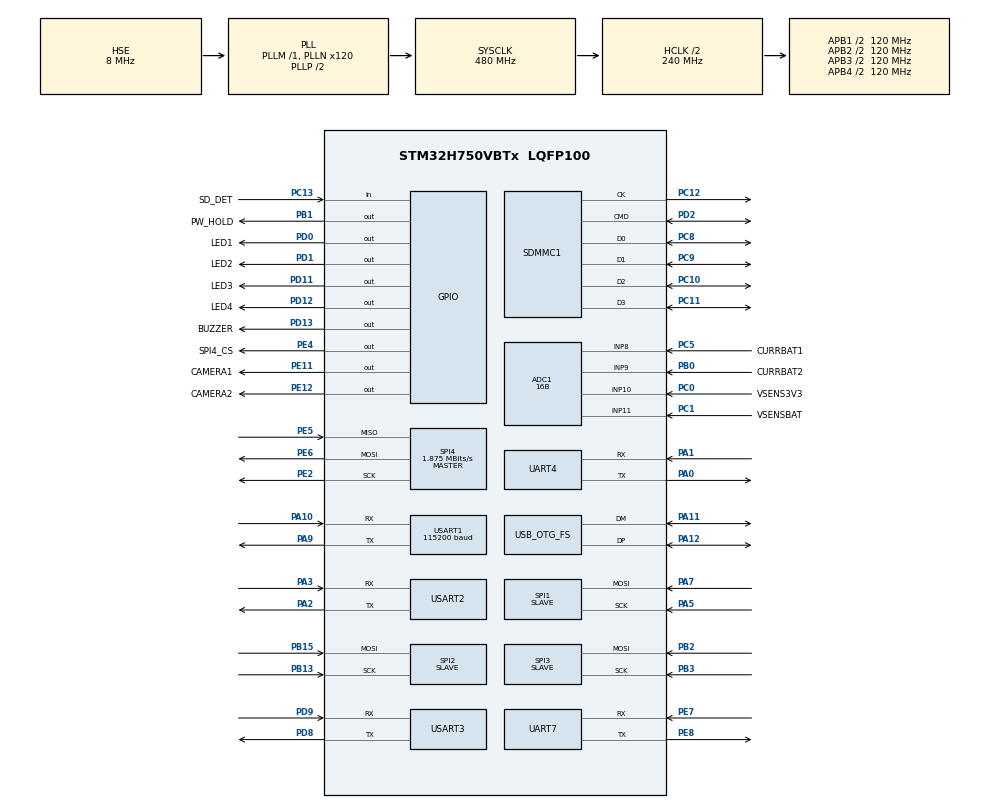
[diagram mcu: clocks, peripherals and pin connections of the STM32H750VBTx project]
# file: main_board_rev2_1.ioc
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ADC1.Channel-0\#ChannelRegularConversion=ADC_CHANNEL_8
ADC1.Channel-1\#ChannelRegularConversion=ADC_CHANNEL_9
ADC1.Channel-2\#ChannelRegularConversion=ADC_CHANNEL_10
ADC1.Channel-3\#ChannelRegularConversion=ADC_CHANNEL_11
ADC1.ClockPrescaler=ADC_CLOCK_ASYNC_DIV4
ADC1.ContinuousConvMode=ENABLE
ADC1.NbrOfConversion=4
ADC1.NbrOfConversionFlag=1
ADC1.OffsetNumber-0\#ChannelRegularConversion=ADC_OFFSET_NONE
ADC1.OffsetNumber-1\#ChannelRegularConversion=ADC_OFFSET_NONE
ADC1.OffsetNumber-2\#ChannelRegularConversion=ADC_OFFSET_NONE
ADC1.OffsetNumber-3\#ChannelRegularConversion=ADC_OFFSET_NONE
ADC1.OffsetSignedSaturation-0\#ChannelRegularConversion=DISABLE
ADC1.OffsetSignedSaturation-1\#ChannelRegularConversion=DISABLE
ADC1.OffsetSignedSaturation-2\#ChannelRegularConversion=DISABLE
ADC1.OffsetSignedSaturation-3\#ChannelRegularConversion=DISABLE
ADC1.Rank-0\#ChannelRegularConversion=1
ADC1.Rank-1\#ChannelRegularConversion=2
ADC1.Rank-2\#ChannelRegularConversion=3
ADC1.Rank-3\#ChannelRegularConversion=4
ADC1.Resolution=ADC_RESOLUTION_16B
ADC1.SamplingTime-0\#ChannelRegularConversion=ADC_SAMPLETIME_387CYCLES_5
ADC1.SamplingTime-1\#ChannelRegularConversion=ADC_SAMPLETIME_387CYCLES_5
ADC1.SamplingTime-2\#ChannelRegularConversion=ADC_SAMPLETIME_387CYCLES_5
ADC1.SamplingTime-3\#ChannelRegularConversion=ADC_SAMPLETIME_387CYCLES_5
ADC1.master=1
CORTEX_M7.CPU_DCache=Disabled
CORTEX_M7.CPU_ICache=Disabled
Dma.ADC1.0.Direction=DMA_PERIPH_TO_MEMORY
Dma.ADC1.0.EventEnable=DISABLE
Dma.ADC1.0.FIFOMode=DMA_FIFOMODE_DISABLE
Dma.ADC1.0.Instance=DMA2_Stream4
Dma.ADC1.0.MemDataAlignment=DMA_MDATAALIGN_WORD
Dma.ADC1.0.MemInc=DMA_MINC_ENABLE
Dma.ADC1.0.Mode=DMA_CIRCULAR
Dma.ADC1.0.PeriphDataAlignment=DMA_PDATAALIGN_WORD
Dma.ADC1.0.PeriphInc=DMA_PINC_DISABLE
Dma.ADC1.0.Polarity=HAL_DMAMUX_REQ_GEN_RISING
Dma.ADC1.0.Priority=DMA_PRIORITY_LOW
Dma.ADC1.0.RequestNumber=1
Dma.ADC1.0.SignalID=NONE
Dma.ADC1.0.SyncEnable=DISABLE
Dma.ADC1.0.SyncPolarity=HAL_DMAMUX_SYNC_NO_EVENT
Dma.ADC1.0.SyncRequestNumber=1
Dma.ADC1.0.SyncSignalID=NONE
Dma.Request0=ADC1
Dma.Request1=SPI1_RX
Dma.Request2=SPI2_RX
Dma.Request3=SPI3_RX
Dma.Request4=UART4_RX
Dma.Request5=UART7_RX
Dma.Request6=USART1_RX
Dma.Request7=USART2_RX
Dma.Request8=USART3_RX
Dma.SPI1_RX.1.Direction=DMA_PERIPH_TO_MEMORY
Dma.SPI1_RX.1.EventEnable=DISABLE
Dma.SPI1_RX.1.FIFOMode=DMA_FIFOMODE_DISABLE
Dma.SPI1_RX.1.Instance=DMA1_Stream0
Dma.SPI1_RX.1.MemDataAlignment=DMA_MDATAALIGN_BYTE
Dma.SPI1_RX.1.MemInc=DMA_MINC_ENABLE
Dma.SPI1_RX.1.Mode=DMA_CIRCULAR
Dma.SPI1_RX.1.PeriphDataAlignment=DMA_PDATAALIGN_BYTE
Dma.SPI1_RX.1.PeriphInc=DMA_PINC_DISABLE
Dma.SPI1_RX.1.Polarity=HAL_DMAMUX_REQ_GEN_RISING
Dma.SPI1_RX.1.Priority=DMA_PRIORITY_LOW
Dma.SPI1_RX.1.RequestNumber=1
Dma.SPI1_RX.1.SignalID=NONE
Dma.SPI1_RX.1.SyncEnable=DISABLE
Dma.SPI1_RX.1.SyncPolarity=HAL_DMAMUX_SYNC_NO_EVENT
Dma.SPI1_RX.1.SyncRequestNumber=1
Dma.SPI1_RX.1.SyncSignalID=NONE
Dma.SPI2_RX.2.Direction=DMA_PERIPH_TO_MEMORY
Dma.SPI2_RX.2.EventEnable=DISABLE
Dma.SPI2_RX.2.FIFOMode=DMA_FIFOMODE_DISABLE
Dma.SPI2_RX.2.Instance=DMA1_Stream1
Dma.SPI2_RX.2.MemDataAlignment=DMA_MDATAALIGN_BYTE
Dma.SPI2_RX.2.MemInc=DMA_MINC_ENABLE
Dma.SPI2_RX.2.Mode=DMA_CIRCULAR
Dma.SPI2_RX.2.PeriphDataAlignment=DMA_PDATAALIGN_BYTE
Dma.SPI2_RX.2.PeriphInc=DMA_PINC_DISABLE
Dma.SPI2_RX.2.Polarity=HAL_DMAMUX_REQ_GEN_RISING
Dma.SPI2_RX.2.Priority=DMA_PRIORITY_LOW
Dma.SPI2_RX.2.RequestNumber=1
Dma.SPI2_RX.2.SignalID=NONE
Dma.SPI2_RX.2.SyncEnable=DISABLE
Dma.SPI2_RX.2.SyncPolarity=HAL_DMAMUX_SYNC_NO_EVENT
Dma.SPI2_RX.2.SyncRequestNumber=1
Dma.SPI2_RX.2.SyncSignalID=NONE
Dma.SPI3_RX.3.Direction=DMA_PERIPH_TO_MEMORY
Dma.SPI3_RX.3.EventEnable=DISABLE
Dma.SPI3_RX.3.FIFOMode=DMA_FIFOMODE_DISABLE
Dma.SPI3_RX.3.Instance=DMA1_Stream2
Dma.SPI3_RX.3.MemDataAlignment=DMA_MDATAALIGN_BYTE
Dma.SPI3_RX.3.MemInc=DMA_MINC_ENABLE
Dma.SPI3_RX.3.Mode=DMA_CIRCULAR
Dma.SPI3_RX.3.PeriphDataAlignment=DMA_PDATAALIGN_BYTE
Dma.SPI3_RX.3.PeriphInc=DMA_PINC_DISABLE
Dma.SPI3_RX.3.Polarity=HAL_DMAMUX_REQ_GEN_RISING
Dma.SPI3_RX.3.Priority=DMA_PRIORITY_LOW
Dma.SPI3_RX.3.RequestNumber=1
Dma.SPI3_RX.3.SignalID=NONE
Dma.SPI3_RX.3.SyncEnable=DISABLE
Dma.SPI3_RX.3.SyncPolarity=HAL_DMAMUX_SYNC_NO_EVENT
Dma.SPI3_RX.3.SyncRequestNumber=1
Dma.SPI3_RX.3.SyncSignalID=NONE
Dma.UART4_RX.4.Direction=DMA_PERIPH_TO_MEMORY
Dma.UART4_RX.4.EventEnable=DISABLE
Dma.UART4_RX.4.FIFOMode=DMA_FIFOMODE_DISABLE
Dma.UART4_RX.4.Instance=DMA1_Stream3
Dma.UART4_RX.4.MemDataAlignment=DMA_MDATAALIGN_BYTE
Dma.UART4_RX.4.MemInc=DMA_MINC_ENABLE
Dma.UART4_RX.4.Mode=DMA_NORMAL
Dma.UART4_RX.4.PeriphDataAlignment=DMA_PDATAALIGN_BYTE
Dma.UART4_RX.4.PeriphInc=DMA_PINC_DISABLE
Dma.UART4_RX.4.Polarity=HAL_DMAMUX_REQ_GEN_RISING
Dma.UART4_RX.4.Priority=DMA_PRIORITY_LOW
Dma.UART4_RX.4.RequestNumber=1
Dma.UART4_RX.4.SignalID=NONE
Dma.UART4_RX.4.SyncEnable=DISABLE
Dma.UART4_RX.4.SyncPolarity=HAL_DMAMUX_SYNC_NO_EVENT
Dma.UART4_RX.4.SyncRequestNumber=1
Dma.UART4_RX.4.SyncSignalID=NONE
Dma.UART7_RX.5.Direction=DMA_PERIPH_TO_MEMORY
Dma.UART7_RX.5.EventEnable=DISABLE
Dma.UART7_RX.5.FIFOMode=DMA_FIFOMODE_DISABLE
Dma.UART7_RX.5.Instance=DMA1_Stream4
Dma.UART7_RX.5.MemDataAlignment=DMA_MDATAALIGN_BYTE
Dma.UART7_RX.5.MemInc=DMA_MINC_ENABLE
Dma.UART7_RX.5.Mode=DMA_NORMAL
Dma.UART7_RX.5.PeriphDataAlignment=DMA_PDATAALIGN_BYTE
Dma.UART7_RX.5.PeriphInc=DMA_PINC_DISABLE
Dma.UART7_RX.5.Polarity=HAL_DMAMUX_REQ_GEN_RISING
Dma.UART7_RX.5.Priority=DMA_PRIORITY_LOW
Dma.UART7_RX.5.RequestNumber=1
Dma.UART7_RX.5.SignalID=NONE
Dma.UART7_RX.5.SyncEnable=DISABLE
Dma.UART7_RX.5.SyncPolarity=HAL_DMAMUX_SYNC_NO_EVENT
Dma.UART7_RX.5.SyncRequestNumber=1
Dma.UART7_RX.5.SyncSignalID=NONE
Dma.USART1_RX.6.Direction=DMA_PERIPH_TO_MEMORY
Dma.USART1_RX.6.EventEnable=DISABLE
Dma.USART1_RX.6.FIFOMode=DMA_FIFOMODE_DISABLE
Dma.USART1_RX.6.Instance=DMA1_Stream5
Dma.USART1_RX.6.MemDataAlignment=DMA_MDATAALIGN_BYTE
Dma.USART1_RX.6.MemInc=DMA_MINC_ENABLE
Dma.USART1_RX.6.Mode=DMA_NORMAL
Dma.USART1_RX.6.PeriphDataAlignment=DMA_PDATAALIGN_BYTE
Dma.USART1_RX.6.PeriphInc=DMA_PINC_DISABLE
Dma.USART1_RX.6.Polarity=HAL_DMAMUX_REQ_GEN_RISING
Dma.USART1_RX.6.Priority=DMA_PRIORITY_LOW
Dma.USART1_RX.6.RequestNumber=1
Dma.USART1_RX.6.SignalID=NONE
Dma.USART1_RX.6.SyncEnable=DISABLE
Dma.USART1_RX.6.SyncPolarity=HAL_DMAMUX_SYNC_NO_EVENT
Dma.USART1_RX.6.SyncRequestNumber=1
Dma.USART1_RX.6.SyncSignalID=NONE
Dma.USART2_RX.7.Direction=DMA_PERIPH_TO_MEMORY
Dma.USART2_RX.7.EventEnable=DISABLE
Dma.USART2_RX.7.FIFOMode=DMA_FIFOMODE_DISABLE
Dma.USART2_RX.7.Instance=DMA1_Stream6
Dma.USART2_RX.7.MemDataAlignment=DMA_MDATAALIGN_BYTE
Dma.USART2_RX.7.MemInc=DMA_MINC_ENABLE
Dma.USART2_RX.7.Mode=DMA_NORMAL
Dma.USART2_RX.7.PeriphDataAlignment=DMA_PDATAALIGN_BYTE
Dma.USART2_RX.7.PeriphInc=DMA_PINC_DISABLE
Dma.USART2_RX.7.Polarity=HAL_DMAMUX_REQ_GEN_RISING
Dma.USART2_RX.7.Priority=DMA_PRIORITY_LOW
Dma.USART2_RX.7.RequestNumber=1
Dma.USART2_RX.7.SignalID=NONE
Dma.USART2_RX.7.SyncEnable=DISABLE
Dma.USART2_RX.7.SyncPolarity=HAL_DMAMUX_SYNC_NO_EVENT
Dma.USART2_RX.7.SyncRequestNumber=1
Dma.USART2_RX.7.SyncSignalID=NONE
Dma.USART3_RX.8.Direction=DMA_PERIPH_TO_MEMORY
Dma.USART3_RX.8.EventEnable=DISABLE
Dma.USART3_RX.8.FIFOMode=DMA_FIFOMODE_DISABLE
Dma.USART3_RX.8.Instance=DMA1_Stream7
Dma.USART3_RX.8.MemDataAlignment=DMA_MDATAALIGN_BYTE
Dma.USART3_RX.8.MemInc=DMA_MINC_ENABLE
Dma.USART3_RX.8.Mode=DMA_NORMAL
Dma.USART3_RX.8.PeriphDataAlignment=DMA_PDATAALIGN_BYTE
Dma.USART3_RX.8.PeriphInc=DMA_PINC_DISABLE
Dma.USART3_RX.8.Polarity=HAL_DMAMUX_REQ_GEN_RISING
Dma.USART3_RX.8.Priority=DMA_PRIORITY_LOW
Dma.USART3_RX.8.RequestNumber=1
Dma.USART3_RX.8.SignalID=NONE
Dma.USART3_RX.8.SyncEnable=DISABLE
Dma.USART3_RX.8.SyncPolarity=HAL_DMAMUX_SYNC_NO_EVENT
Dma.USART3_RX.8.SyncRequestNumber=1
Dma.USART3_RX.8.SyncSignalID=NONE
FATFS.BSP.number=1
FATFS._USE_FIND=1
FATFS0.BSP.STBoard=false
FATFS0.BSP.api=Unknown
FATFS0.BSP.i2caddr=0
FATFS0.BSP.instance=PC13
FATFS0.BSP.ip=GPIO
FATFS0.BSP.mode=Input
FATFS0.BSP.name=Detect_SDIO
FATFS0.BSP.solution=PC13
FREERTOS.Tasks01=defaultTask,24,128,StartDefaultTask,Default,NULL,Dynamic,NULL,NULL;task_state_est,24,2048,vTaskStateEst,As external,NULL,Static,task_state_estBuffer,task_state_estControlBlock;task_controller,24,2048,vTaskController,As external,NULL,Static,task_controllerBuffer,task_controllerControlBlock;task_sens_read,24,2048,vTaskSensRead,As external,NULL,Static,task_sens_readBuffer,task_sens_readControlBlock;task_sd_card,24,2048,vTaskSdCard,As external,NULL,Static,task_sd_cardBuffer,task_sd_cardControlBlock;task_motor_cont,24,2048,vTaskMotorCont,As external,NULL,Static,task_motor_contBuffer,task_motor_contControlBlock;task_fsm,24,2048,vTaskFsm,As external,NULL,Static,task_fsmBuffer,task_fsmControlBlock;task_gps,24,2048,vTaskGps,As external,NULL,Static,task_gpsBuffer,task_gpsControlBlock;task_battery,24,2048,vTaskBattery,As external,NULL,Static,task_batteryBuffer,task_batteryControlBlock;task_xbee,24,2048,vTaskXbee,As external,NULL,Static,task_xbeeBuffer,task_xbeeControlBlock;task_peripherals,24,2048,vTaskPeripherals,As external,NULL,Static,task_peripheralsBuffer,task_peripheralsControlBlock;task_flash,24,2048,vTaskFlash,As external,NULL,Static,task_flashBuffer,task_flashControlBlock
FREERTOS.configENABLE_FPU=1
FREERTOS.configMAX_TASK_NAME_LEN=20
FREERTOS.configTOTAL_HEAP_SIZE=30720
FREERTOS.configUSE_TRACE_FACILITY=0
Mcu.Family=STM32H7
Mcu.Name=STM32H750VBTx
Mcu.Package=LQFP100
NVIC.DMA1_Stream0_IRQn=true\:5\:0\:true\:false\:true\:true\:false\:true
NVIC.DMA1_Stream1_IRQn=true\:5\:0\:true\:false\:true\:true\:false\:true
NVIC.DMA1_Stream2_IRQn=true\:5\:0\:true\:false\:true\:true\:false\:true
NVIC.DMA1_Stream3_IRQn=true\:5\:0\:true\:false\:true\:true\:false\:true
NVIC.DMA1_Stream4_IRQn=true\:5\:0\:true\:false\:true\:true\:false\:true
NVIC.DMA1_Stream5_IRQn=true\:5\:0\:true\:false\:true\:true\:false\:true
NVIC.DMA1_Stream6_IRQn=true\:5\:0\:true\:false\:true\:true\:false\:true
NVIC.DMA1_Stream7_IRQn=true\:0\:0\:false\:false\:true\:true\:false\:true
NVIC.DMA2_Stream4_IRQn=true\:5\:0\:true\:false\:true\:false\:false\:true
NVIC.OTG_FS_IRQn=true\:5\:0\:true\:false\:true\:true\:false\:true
NVIC.PriorityGroup=NVIC_PRIORITYGROUP_4
NVIC.SDMMC1_IRQn=true\:5\:0\:true\:false\:true\:true\:true\:true
NVIC.SPI1_IRQn=true\:5\:0\:true\:false\:true\:true\:true\:true
NVIC.SPI2_IRQn=true\:5\:0\:true\:false\:true\:true\:true\:true
NVIC.SPI3_IRQn=true\:5\:0\:true\:false\:true\:true\:true\:true
NVIC.TIM1_UP_IRQn=true\:0\:0\:false\:false\:true\:false\:false\:true
NVIC.TimeBase=TIM1_UP_IRQn
NVIC.TimeBaseIP=TIM1
PA0.Mode=Asynchronous
PA0.Signal=UART4_TX
PA1.Mode=Asynchronous
PA1.Signal=UART4_RX
PA10.Mode=Asynchronous
PA10.Signal=USART1_RX
PA11.Mode=Device_Only
PA11.Signal=USB_OTG_FS_DM
PA12.Mode=Device_Only
PA12.Signal=USB_OTG_FS_DP
PA13\ (JTMS/SWDIO).Mode=Serial_Wire
PA13\ (JTMS/SWDIO).Signal=DEBUG_JTMS-SWDIO
PA14\ (JTCK/SWCLK).Mode=Serial_Wire
PA14\ (JTCK/SWCLK).Signal=DEBUG_JTCK-SWCLK
PA15\ (JTDI).Signal=SPI1_NSS
PA2.Mode=Asynchronous
PA2.Signal=USART2_TX
PA3.Mode=Asynchronous
PA3.Signal=USART2_RX
PA4.Signal=SPI3_NSS
PA5.GPIO_Speed=GPIO_SPEED_FREQ_MEDIUM
PA5.Mode=RX_Only_Simplex_Unidirect_Slave
PA5.Signal=SPI1_SCK
PA7.GPIO_Speed=GPIO_SPEED_FREQ_MEDIUM
PA7.Mode=RX_Only_Simplex_Unidirect_Slave
PA7.Signal=SPI1_MOSI
PA9.Mode=Asynchronous
PA9.Signal=USART1_TX
PB0.GPIO_Label=CURRBAT2
PB0.Signal=ADCx_INP9
PB1.GPIO_Label=PW_HOLD
PB1.Signal=GPIO_Output
PB12.Signal=SPI2_NSS
PB13.GPIO_Speed=GPIO_SPEED_FREQ_VERY_HIGH
PB13.Mode=RX_Only_Simplex_Unidirect_Slave
PB13.Signal=SPI2_SCK
PB15.GPIO_Speed=GPIO_SPEED_FREQ_VERY_HIGH
PB15.Mode=RX_Only_Simplex_Unidirect_Slave
PB15.Signal=SPI2_MOSI
PB2.GPIO_Speed=GPIO_SPEED_FREQ_MEDIUM
PB2.Mode=RX_Only_Simplex_Unidirect_Slave
PB2.Signal=SPI3_MOSI
PB3\ (JTDO/TRACESWO).GPIO_Speed=GPIO_SPEED_FREQ_MEDIUM
PB3\ (JTDO/TRACESWO).Mode=RX_Only_Simplex_Unidirect_Slave
PB3\ (JTDO/TRACESWO).Signal=SPI3_SCK
PC0.GPIO_Label=VSENS3V3
PC0.Signal=ADCx_INP10
PC1.GPIO_Label=VSENSBAT
PC1.Signal=ADCx_INP11
PC10.Mode=SD_4_bits_Wide_bus
PC10.Signal=SDMMC1_D2
PC11.Mode=SD_4_bits_Wide_bus
PC11.Signal=SDMMC1_D3
PC12.Mode=SD_4_bits_Wide_bus
PC12.Signal=SDMMC1_CK
PC13.GPIO_Label=SD_DET
PC13.Signal=GPIO_Input
PC5.GPIO_Label=CURRBAT1
PC5.Signal=ADCx_INP8
PC8.Mode=SD_4_bits_Wide_bus
PC8.Signal=SDMMC1_D0
PC9.Mode=SD_4_bits_Wide_bus
PC9.Signal=SDMMC1_D1
PD0.GPIO_Label=LED1
PD0.Signal=GPIO_Output
PD1.GPIO_Label=LED2
PD1.Signal=GPIO_Output
PD11.GPIO_Label=LED3
PD11.Signal=GPIO_Output
PD12.GPIO_Label=LED4
PD12.Signal=GPIO_Output
PD13.GPIO_Label=BUZZER
PD13.Signal=GPIO_Output
PD2.Mode=SD_4_bits_Wide_bus
PD2.Signal=SDMMC1_CMD
PD8.Mode=Asynchronous
PD8.Signal=USART3_TX
PD9.Mode=Asynchronous
PD9.Signal=USART3_RX
PE11.GPIO_Label=CAMERA1
PE11.Signal=GPIO_Output
PE12.GPIO_Label=CAMERA2
PE12.Signal=GPIO_Output
PE2.Mode=Full_Duplex_Master
PE2.Signal=SPI4_SCK
PE4.GPIO_Label=SPI4_CS
PE4.Signal=GPIO_Output
PE5.Mode=Full_Duplex_Master
PE5.Signal=SPI4_MISO
PE6.Mode=Full_Duplex_Master
PE6.Signal=SPI4_MOSI
PE7.Mode=Asynchronous
PE7.Signal=UART7_RX
PE8.Mode=Asynchronous
PE8.Signal=UART7_TX
PH0-OSC_IN\ (PH0).Mode=HSE-External-Oscillator
PH0-OSC_IN\ (PH0).Signal=RCC_OSC_IN
PH1-OSC_OUT\ (PH1).Mode=HSE-External-Oscillator
PH1-OSC_OUT\ (PH1).Signal=RCC_OSC_OUT
ProjectManager.HeapSize=0x400
ProjectManager.StackSize=0x800
ProjectManager.TargetToolchain=STM32CubeIDE
RCC.ADCFreq_Value=152000000
RCC.APB1Freq_Value=120000000
RCC.APB2Freq_Value=120000000
RCC.APB3Freq_Value=120000000
RCC.APB4Freq_Value=120000000
RCC.CortexFreq_Value=240000000
RCC.D1CPRE=RCC_SYSCLK_DIV2
RCC.D1PPRE=RCC_APB3_DIV2
RCC.D2PPRE1=RCC_APB1_DIV2
RCC.D2PPRE2=RCC_APB2_DIV2
RCC.D3PPRE=RCC_APB4_DIV2
RCC.DIVM1=1
RCC.DIVM2=1
RCC.DIVN1=120
RCC.DIVN2=19
RCC.DIVP2=1
RCC.DIVQ1=20
RCC.HCLKFreq_Value=240000000
RCC.HSE_VALUE=8000000
RCC.SYSCLKFreq_VALUE=480000000
RCC.SYSCLKSource=RCC_SYSCLKSOURCE_PLLCLK
RCC.USBFreq_Value=48000000
SH.ADCx_INP10.0=ADC1_INP10,IN10-Single-Ended
SH.ADCx_INP11.0=ADC1_INP11,IN11-Single-Ended
SH.ADCx_INP8.0=ADC1_INP8,IN8-Single-Ended
SH.ADCx_INP9.0=ADC1_INP9,IN9-Single-Ended
SPI1.DataSize=SPI_DATASIZE_8BIT
SPI1.Direction=SPI_DIRECTION_2LINES_RXONLY
SPI1.Mode=SPI_MODE_SLAVE
SPI1.VirtualType=VM_SLAVE
SPI2.DataSize=SPI_DATASIZE_8BIT
SPI2.Direction=SPI_DIRECTION_2LINES_RXONLY
SPI2.Mode=SPI_MODE_SLAVE
SPI2.VirtualType=VM_SLAVE
SPI3.DataSize=SPI_DATASIZE_8BIT
SPI3.Direction=SPI_DIRECTION_2LINES_RXONLY
SPI3.Mode=SPI_MODE_SLAVE
SPI3.VirtualType=VM_SLAVE
SPI4.BaudRatePrescaler=SPI_BAUDRATEPRESCALER_64
SPI4.CLKPhase=SPI_PHASE_1EDGE
SPI4.CalculateBaudRate=1.875 MBits/s
SPI4.DataSize=SPI_DATASIZE_8BIT
SPI4.Direction=SPI_DIRECTION_2LINES
SPI4.Mode=SPI_MODE_MASTER
SPI4.NSSPMode=SPI_NSS_PULSE_ENABLE
SPI4.NSSPolarity=SPI_NSS_POLARITY_LOW
SPI4.VirtualType=VM_MASTER
USART1.BaudRate=115200
USART1.VirtualMode-Asynchronous=VM_ASYNC
USART2.VirtualMode-Asynchronous=VM_ASYNC
USART3.VirtualMode-Asynchronous=VM_ASYNC
USB_DEVICE.CLASS_NAME_FS=CDC
USB_DEVICE.MANUFACTURER_STRING-CDC_FS=ARIS
USB_DEVICE.PRODUCT_STRING_CDC_FS=EULER II MAIN BOARD
USB_DEVICE.VirtualMode-CDC_FS=Cdc
USB_DEVICE.VirtualModeFS=Cdc_FS
USB_OTG_FS.VirtualMode=Device_Only
VP_FATFS_VS_SDIO.Mode=SDIO
VP_FREERTOS_VS_CMSIS_V2.Mode=CMSIS_V2
VP_SYS_VS_tim1.Mode=TIM1
VP_USB_DEVICE_VS_USB_DEVICE_CDC_FS.Mode=CDC_FS
board=custom

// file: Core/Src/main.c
/* USER CODE BEGIN Header */
/**
 ******************************************************************************
 * @file           : main.c
 * @brief          : Main program body
 ******************************************************************************
 * @attention
 *
 * <h2><center>&copy; Copyright (c) 2020 STMicroelectronics.
 * All rights reserved.</center></h2>
 *
 * This software component is licensed by ST under Ultimate Liberty license
 * SLA0044, the "License"; You may not use this file except in compliance with
 * the License. You may obtain a copy of the License at:
 *                             www.st.com/SLA0044
 *
 ******************************************************************************
 */
/* USER CODE END Header */
#include "main.h"
#include "cmsis_os.h"
#include "fatfs.h"
#include "usb_device.h"

/* USER CODE BEGIN Includes */
#include "Util/util.h"
#include "Util/mutex.h"
#include "tasks/task_controller.h"
#include "tasks/task_sens_read.h"
#include "tasks/task_state_est.h"
#include "tasks/task_motor_control.h"
#include "tasks/task_fsm.h"
#include "tasks/task_gps.h"
#include "tasks/task_battery.h"
#include "tasks/task_sd_card.h"
#include "tasks/task_xbee.h"
/* USER CODE END Includes */

typedef StaticTask_t osStaticThreadDef_t;

ADC_HandleTypeDef hadc1;
DMA_HandleTypeDef hdma_adc1;

SD_HandleTypeDef hsd1;

SPI_HandleTypeDef hspi1;
SPI_HandleTypeDef hspi2;
SPI_HandleTypeDef hspi3;
SPI_HandleTypeDef hspi4;
DMA_HandleTypeDef hdma_spi1_rx;
DMA_HandleTypeDef hdma_spi2_rx;
DMA_HandleTypeDef hdma_spi3_rx;

UART_HandleTypeDef huart4;
UART_HandleTypeDef huart7;
UART_HandleTypeDef huart1;
UART_HandleTypeDef huart2;
UART_HandleTypeDef huart3;
DMA_HandleTypeDef hdma_uart4_rx;
DMA_HandleTypeDef hdma_uart7_rx;
DMA_HandleTypeDef hdma_usart1_rx;
DMA_HandleTypeDef hdma_usart2_rx;
DMA_HandleTypeDef hdma_usart3_rx;

/* Definitions for defaultTask */
osThreadId_t defaultTaskHandle;
const osThreadAttr_t defaultTask_attributes = {
  .name = "defaultTask",
  .priority = (osPriority_t) osPriorityNormal,
  .stack_size = 128 * 4
};
/* Definitions for task_state_est */
osThreadId_t task_state_estHandle;
uint32_t task_state_estBuffer[ 2048 ];
osStaticThreadDef_t task_state_estControlBlock;
const osThreadAttr_t task_state_est_attributes = {
  .name = "task_state_est",
  .stack_mem = &task_state_estBuffer[0],
  .stack_size = sizeof(task_state_estBuffer),
  .cb_mem = &task_state_estControlBlock,
  .cb_size = sizeof(task_state_estControlBlock),
  .priority = (osPriority_t) osPriorityNormal,
};
/* Definitions for task_controller */
osThreadId_t task_controllerHandle;
uint32_t task_controllerBuffer[ 2048 ];
osStaticThreadDef_t task_controllerControlBlock;
const osThreadAttr_t task_controller_attributes = {
  .name = "task_controller",
  .stack_mem = &task_controllerBuffer[0],
  .stack_size = sizeof(task_controllerBuffer),
  .cb_mem = &task_controllerControlBlock,
  .cb_size = sizeof(task_controllerControlBlock),
  .priority = (osPriority_t) osPriorityNormal,
};
/* Definitions for task_sens_read */
osThreadId_t task_sens_readHandle;
uint32_t task_sens_readBuffer[ 2048 ];
osStaticThreadDef_t task_sens_readControlBlock;
const osThreadAttr_t task_sens_read_attributes = {
  .name = "task_sens_read",
  .stack_mem = &task_sens_readBuffer[0],
  .stack_size = sizeof(task_sens_readBuffer),
  .cb_mem = &task_sens_readControlBlock,
  .cb_size = sizeof(task_sens_readControlBlock),
  .priority = (osPriority_t) osPriorityNormal,
};
/* Definitions for task_sd_card */
osThreadId_t task_sd_cardHandle;
uint32_t task_sd_cardBuffer[ 2048 ];
osStaticThreadDef_t task_sd_cardControlBlock;
const osThreadAttr_t task_sd_card_attributes = {
  .name = "task_sd_card",
  .stack_mem = &task_sd_cardBuffer[0],
  .stack_size = sizeof(task_sd_cardBuffer),
  .cb_mem = &task_sd_cardControlBlock,
  .cb_size = sizeof(task_sd_cardControlBlock),
  .priority = (osPriority_t) osPriorityNormal,
};
/* Definitions for task_motor_cont */
osThreadId_t task_motor_contHandle;
uint32_t task_motor_contBuffer[ 2048 ];
osStaticThreadDef_t task_motor_contControlBlock;
const osThreadAttr_t task_motor_cont_attributes = {
  .name = "task_motor_cont",
  .stack_mem = &task_motor_contBuffer[0],
  .stack_size = sizeof(task_motor_contBuffer),
  .cb_mem = &task_motor_contControlBlock,
  .cb_size = sizeof(task_motor_contControlBlock),
  .priority = (osPriority_t) osPriorityNormal,
};
/* Definitions for task_fsm */
osThreadId_t task_fsmHandle;
uint32_t task_fsmBuffer[ 2048 ];
osStaticThreadDef_t task_fsmControlBlock;
const osThreadAttr_t task_fsm_attributes = {
  .name = "task_fsm",
  .stack_mem = &task_fsmBuffer[0],
  .stack_size = sizeof(task_fsmBuffer),
  .cb_mem = &task_fsmControlBlock,
  .cb_size = sizeof(task_fsmControlBlock),
  .priority = (osPriority_t) osPriorityNormal,
};
/* Definitions for task_gps */
osThreadId_t task_gpsHandle;
uint32_t task_gpsBuffer[ 2048 ];
osStaticThreadDef_t task_gpsControlBlock;
const osThreadAttr_t task_gps_attributes = {
  .name = "task_gps",
  .stack_mem = &task_gpsBuffer[0],
  .stack_size = sizeof(task_gpsBuffer),
  .cb_mem = &task_gpsControlBlock,
  .cb_size = sizeof(task_gpsControlBlock),
  .priority = (osPriority_t) osPriorityNormal,
};
/* Definitions for task_battery */
osThreadId_t task_batteryHandle;
uint32_t task_batteryBuffer[ 2048 ];
osStaticThreadDef_t task_batteryControlBlock;
const osThreadAttr_t task_battery_attributes = {
  .name = "task_battery",
  .stack_mem = &task_batteryBuffer[0],
  .stack_size = sizeof(task_batteryBuffer),
  .cb_mem = &task_batteryControlBlock,
  .cb_size = sizeof(task_batteryControlBlock),
  .priority = (osPriority_t) osPriorityNormal,
};
/* Definitions for task_xbee */
osThreadId_t task_xbeeHandle;
uint32_t task_xbeeBuffer[ 2048 ];
osStaticThreadDef_t task_xbeeControlBlock;
const osThreadAttr_t task_xbee_attributes = {
  .name = "task_xbee",
  .stack_mem = &task_xbeeBuffer[0],
  .stack_size = sizeof(task_xbeeBuffer),
  .cb_mem = &task_xbeeControlBlock,
  .cb_size = sizeof(task_xbeeControlBlock),
  .priority = (osPriority_t) osPriorityNormal,
};
/* Definitions for task_peripherals */
osThreadId_t task_peripheralsHandle;
uint32_t task_peripheralsBuffer[ 2048 ];
osStaticThreadDef_t task_peripheralsControlBlock;
const osThreadAttr_t task_peripherals_attributes = {
  .name = "task_peripherals",
  .stack_mem = &task_peripheralsBuffer[0],
  .stack_size = sizeof(task_peripheralsBuffer),
  .cb_mem = &task_peripheralsControlBlock,
  .cb_size = sizeof(task_peripheralsControlBlock),
  .priority = (osPriority_t) osPriorityNormal,
};
/* Definitions for task_flash */
osThreadId_t task_flashHandle;
uint32_t task_flashBuffer[ 2048 ];
osStaticThreadDef_t task_flashControlBlock;
const osThreadAttr_t task_flash_attributes = {
  .name = "task_flash",
  .stack_mem = &task_flashBuffer[0],
  .stack_size = sizeof(task_flashBuffer),
  .cb_mem = &task_flashControlBlock,
  .cb_size = sizeof(task_flashControlBlock),
  .priority = (osPriority_t) osPriorityNormal,
};
/* USER CODE BEGIN PV */
/** SENSOR BOARD VARIABLES **/

baro_data_t sb1_baro = { 0 };
imu_data_t sb1_imu = { 0 };
baro_data_t sb2_baro = { 0 };
imu_data_t sb2_imu = { 0 };
baro_data_t sb3_baro = { 0 };
imu_data_t sb3_imu = { 0 };

/** CONTROL VARIABLES **/

state_est_data_t state_est_data_global = { 0 };
int32_t controller_output_global = 0;
env_t global_env = { 0 };
flight_phase_detection_t global_flight_phase_detection = { 0 };

/** TELEMETRY COMMAND **/
command_e global_telemetry_command;

/** MUTEXES **/

/* Sensor Board */
osMutexId_t sb1_mutex_only;
custom_mutex_t sb1_mutex;
osMutexId_t sb2_mutex_only;
custom_mutex_t sb2_mutex;
osMutexId_t sb3_mutex_only;
custom_mutex_t sb3_mutex;

/* Control */
osMutexId_t environment_mutex_only;
custom_mutex_t env_mutex;
osMutexId_t state_est_mutex_only;
custom_mutex_t state_est_mutex;
osMutexId_t controller_mutex_only;
custom_mutex_t controller_mutex;

/* FSM */
osMutexId_t fsm_mutex_only;
custom_mutex_t fsm_mutex;

/* GPS */
gps_data_t globalGPS;

osMutexId_t gps_mutex_only;
custom_mutex_t gps_mutex;

/* Motor Controller */
osMutexId_t motor_mutex_only;
custom_mutex_t motor_mutex;

/* Battery */
osMutexId_t battery_mutex_only;
telemetry_battery_data_t global_battery_data;
custom_mutex_t battery_mutex;

/* Telemetry Command */
osMutexId_t command_mutex_only;
custom_mutex_t command_mutex;
int32_t global_airbrake_extension;

/* USB debugging */
osMutexId_t usb_data_mutex_only;
custom_mutex_t usb_data_mutex;
char usb_data_buffer[256] = { 0 };

/** Logging Queue **/
osMessageQueueId_t sd_queue;

/* USER CODE END PV */

void SystemClock_Config(void);
static void MX_GPIO_Init(void);
static void MX_DMA_Init(void);
static void MX_ADC1_Init(void);
static void MX_SDMMC1_SD_Init(void);
static void MX_SPI1_Init(void);
static void MX_SPI2_Init(void);
static void MX_SPI3_Init(void);
static void MX_UART4_Init(void);
static void MX_UART7_Init(void);
static void MX_USART1_UART_Init(void);
static void MX_USART2_UART_Init(void);
static void MX_USART3_UART_Init(void);
static void MX_SPI4_Init(void);
void StartDefaultTask(void *argument);
extern void vTaskStateEst(void *argument);
extern void vTaskController(void *argument);
extern void vTaskSensRead(void *argument);
extern void vTaskSdCard(void *argument);
extern void vTaskMotorCont(void *argument);
extern void vTaskFsm(void *argument);
extern void vTaskGps(void *argument);
extern void vTaskBattery(void *argument);
extern void vTaskXbee(void *argument);
extern void vTaskPeripherals(void *argument);
extern void vTaskFlash(void *argument);

int main(void)
{

  /* Enable I-Cache---------------------------------------------------------*/
  SCB_EnableICache();

  /* MCU Configuration--------------------------------------------------------*/

  /* Reset of all peripherals, Initializes the Flash interface and the Systick. */
  HAL_Init();

  /* Configure the system clock */
  SystemClock_Config();

  /* USER CODE BEGIN SysInit */
	init_env(&global_env);
	reset_flight_phase_detection(&global_flight_phase_detection);
  /* USER CODE END SysInit */

  /* Initialize all configured peripherals */
  MX_GPIO_Init();
  MX_DMA_Init();
  MX_ADC1_Init();
  MX_SDMMC1_SD_Init();
  MX_SPI1_Init();
  MX_SPI2_Init();
  MX_SPI3_Init();
  MX_UART4_Init();
  MX_UART7_Init();
  MX_USART1_UART_Init();
  MX_USART2_UART_Init();
  MX_USART3_UART_Init();
  MX_FATFS_Init();
  MX_SPI4_Init();
  /* USER CODE BEGIN 2 */
	MX_USB_DEVICE_Init();
#if ( configUSE_TRACE_FACILITY == 1 )
	vTraceEnable(TRC_INIT);
#endif

  /* USER CODE END 2 */

  /* Init scheduler */
  osKernelInitialize();

  /* USER CODE BEGIN RTOS_MUTEX */
	/* Sensor Board 1 Mutex */
	const osMutexAttr_t sb1_mutex_attr = { "sb1_mutex_only", // human readable mutex name
			osMutexPrioInherit,                       // attr_bits
			NULL,                                    // memory for control block
			0U                                        // size for control block
			};

	sb1_mutex_only = osMutexNew(&sb1_mutex_attr);

	/* Sensor Board 2 Mutex */
	const osMutexAttr_t sb2_mutex_attr = { "sb2_mutex_only", // human readable mutex name
			osMutexPrioInherit,                       // attr_bits
			NULL,                                    // memory for control block
			0U                                        // size for control block
			};

	sb2_mutex_only = osMutexNew(&sb2_mutex_attr);

	/* Sensor Board 3 Mutex */
	const osMutexAttr_t sb3_mutex_attr = { "sb3_mutex_only", // human readable mutex name
			osMutexPrioInherit,    					 // attr_bits
			NULL,                                    // memory for control block
			0U                                        // size for control block
			};

	sb3_mutex_only = osMutexNew(&sb3_mutex_attr);

	/* State Estimation Output Mutex */
	const osMutexAttr_t state_est_mutex_attr = { "state_est_mutex_only", // human readable mutex name
			osMutexPrioInherit,    					 // attr_bits
			NULL,                                    // memory for control block
			0U                                        // size for control block
			};

	state_est_mutex_only = osMutexNew(&state_est_mutex_attr);

	/* Controller Output Mutex */
	const osMutexAttr_t controller_mutex_attr = { "controller_mutex_only", // human readable mutex name
			osMutexPrioInherit,    					 // attr_bits
			NULL,                                    // memory for control block
			0U                                        // size for control block
			};

	controller_mutex_only = osMutexNew(&controller_mutex_attr);

	/* FSM Output Mutex */
	const osMutexAttr_t fsm_mutex_attr = { "fsm_mutex_only", // human readable mutex name
			osMutexPrioInherit,    					 // attr_bits
			NULL,                                    // memory for control block
			0U                                        // size for control block
			};

	fsm_mutex_only = osMutexNew(&fsm_mutex_attr);

	/* Environment Mutex */
	const osMutexAttr_t environment_mutex_attr = { "environment_mutex_only", // human readable mutex name
			osMutexPrioInherit,    					 // attr_bits
			NULL,                                    // memory for control block
			0U                                        // size for control block
			};

	environment_mutex_only = osMutexNew(&environment_mutex_attr);

	/* USB Data Mutex */
	const osMutexAttr_t usb_data_mutex_attr = { "usb_data_mutex_only", // human readable mutex name
			osMutexPrioInherit,    					 // attr_bits
			NULL,                                    // memory for control block
			0U                                        // size for control block
			};

	usb_data_mutex_only = osMutexNew(&usb_data_mutex_attr);

	/* Command Mutex */
	const osMutexAttr_t command_mutex_attr = { "command_mutex_only", // human readable mutex name
			osMutexPrioInherit,    					 // attr_bits
			NULL,                                    // memory for control block
			0U                                        // size for control block
			};

	command_mutex_only = osMutexNew(&command_mutex_attr);

	/* GPS Mutex */
	const osMutexAttr_t gps_mutex_attr = { "gps_mutex_only", // human readable mutex name
			osMutexPrioInherit,    					 // attr_bits
			NULL,                                    // memory for control block
			0U                                        // size for control block
			};

	gps_mutex_only = osMutexNew(&gps_mutex_attr);

	/* Battery Mutex */
	const osMutexAttr_t battery_mutex_attr = { "battery_mutex_only", // human readable mutex name
			osMutexPrioInherit,    					 // attr_bits
			NULL,                                    // memory for control block
			0U                                        // size for control block
			};

	battery_mutex_only = osMutexNew(&battery_mutex_attr);

	/* Motor Mutex */
	const osMutexAttr_t motor_mutex_attr = { "motor_mutex_only", // human readable mutex name
			osMutexPrioInherit,    					 // attr_bits
			NULL,                                    // memory for control block
			0U                                        // size for control block
			};

	motor_mutex_only = osMutexNew(&motor_mutex_attr);

	/** Initialise Mutexes **/

	sb1_mutex.mutex = sb1_mutex_only;
	sb2_mutex.mutex = sb2_mutex_only;
	sb3_mutex.mutex = sb3_mutex_only;
	env_mutex.mutex = environment_mutex_only;
	fsm_mutex.mutex = fsm_mutex_only;
	controller_mutex.mutex = controller_mutex_only;
	state_est_mutex.mutex = state_est_mutex_only;
	usb_data_mutex.mutex = usb_data_mutex_only;
	command_mutex.mutex = command_mutex_only;
	gps_mutex.mutex = gps_mutex_only;
	battery_mutex.mutex = battery_mutex_only;
	motor_mutex.mutex = motor_mutex_only;

	global_flight_phase_detection.flight_phase = IDLE;
	global_flight_phase_detection.mach_regime = SUBSONIC;
	global_telemetry_command = IDLE_COMMAND;

#ifdef DEBUG
	const osMutexAttr_t print_mutex_attr = { "print_mutex", // human readable mutex name
			osMutexPrioInherit,    					  // attr_bits
			NULL,                                    // memory for control block
			0U                                        // size for control block
			};

	print_mutex = osMutexNew(&print_mutex_attr);
#endif
  /* USER CODE END RTOS_MUTEX */

  /* USER CODE BEGIN RTOS_QUEUES */
	sd_queue = osMessageQueueNew(SD_QUEUE_SIZE, sizeof(log_elem_t), NULL);
#if ( configUSE_TRACE_FACILITY == 1 )
	vTraceSetQueueName(sd_queue, "SD Queue");
#endif
  /* USER CODE END RTOS_QUEUES */

  /* Create the thread(s) */
  /* creation of defaultTask */
  defaultTaskHandle = osThreadNew(StartDefaultTask, NULL, &defaultTask_attributes);

  /* creation of task_state_est */
  task_state_estHandle = osThreadNew(vTaskStateEst, NULL, &task_state_est_attributes);

  /* creation of task_controller */
  task_controllerHandle = osThreadNew(vTaskController, NULL, &task_controller_attributes);

  /* creation of task_sens_read */
  task_sens_readHandle = osThreadNew(vTaskSensRead, NULL, &task_sens_read_attributes);

  /* creation of task_sd_card */
  task_sd_cardHandle = osThreadNew(vTaskSdCard, NULL, &task_sd_card_attributes);

  /* creation of task_motor_cont */
  task_motor_contHandle = osThreadNew(vTaskMotorCont, NULL, &task_motor_cont_attributes);

  /* creation of task_fsm */
  task_fsmHandle = osThreadNew(vTaskFsm, NULL, &task_fsm_attributes);

  /* creation of task_gps */
  task_gpsHandle = osThreadNew(vTaskGps, NULL, &task_gps_attributes);

  /* creation of task_battery */
  task_batteryHandle = osThreadNew(vTaskBattery, NULL, &task_battery_attributes);

  /* creation of task_xbee */
  task_xbeeHandle = osThreadNew(vTaskXbee, NULL, &task_xbee_attributes);

  /* creation of task_peripherals */
  task_peripheralsHandle = osThreadNew(vTaskPeripherals, NULL, &task_peripherals_attributes);

  /* creation of task_flash */
  task_flashHandle = osThreadNew(vTaskFlash, NULL, &task_flash_attributes);

  /* Start scheduler */
  osKernelStart();

  /* We should never get here as control is now taken by the scheduler */
  /* Infinite loop */
	while (1) {

	}
}

void SystemClock_Config(void)
{
  RCC_OscInitTypeDef RCC_OscInitStruct = {0};
  RCC_ClkInitTypeDef RCC_ClkInitStruct = {0};
  RCC_PeriphCLKInitTypeDef PeriphClkInitStruct = {0};

  /** Supply configuration update enable
  */
  HAL_PWREx_ConfigSupply(PWR_LDO_SUPPLY);
  /** Configure the main internal regulator output voltage
  */
  __HAL_PWR_VOLTAGESCALING_CONFIG(PWR_REGULATOR_VOLTAGE_SCALE0);

  while(!__HAL_PWR_GET_FLAG(PWR_FLAG_VOSRDY)) {}
  /** Macro to configure the PLL clock source
  */
  __HAL_RCC_PLL_PLLSOURCE_CONFIG(RCC_PLLSOURCE_HSE);
  /** Initializes the RCC Oscillators according to the specified parameters
  * in the RCC_OscInitTypeDef structure.
  */
  RCC_OscInitStruct.OscillatorType = RCC_OSCILLATORTYPE_HSE;
  RCC_OscInitStruct.HSEState = RCC_HSE_ON;
  RCC_OscInitStruct.PLL.PLLState = RCC_PLL_ON;
  RCC_OscInitStruct.PLL.PLLSource = RCC_PLLSOURCE_HSE;
  RCC_OscInitStruct.PLL.PLLM = 1;
  RCC_OscInitStruct.PLL.PLLN = 120;
  RCC_OscInitStruct.PLL.PLLP = 2;
  RCC_OscInitStruct.PLL.PLLQ = 20;
  RCC_OscInitStruct.PLL.PLLR = 2;
  RCC_OscInitStruct.PLL.PLLRGE = RCC_PLL1VCIRANGE_3;
  RCC_OscInitStruct.PLL.PLLVCOSEL = RCC_PLL1VCOWIDE;
  RCC_OscInitStruct.PLL.PLLFRACN = 0;
  if (HAL_RCC_OscConfig(&RCC_OscInitStruct) != HAL_OK)
  {
    Error_Handler();
  }
  /** Initializes the CPU, AHB and APB buses clocks
  */
  RCC_ClkInitStruct.ClockType = RCC_CLOCKTYPE_HCLK|RCC_CLOCKTYPE_SYSCLK
                              |RCC_CLOCKTYPE_PCLK1|RCC_CLOCKTYPE_PCLK2
                              |RCC_CLOCKTYPE_D3PCLK1|RCC_CLOCKTYPE_D1PCLK1;
  RCC_ClkInitStruct.SYSCLKSource = RCC_SYSCLKSOURCE_PLLCLK;
  RCC_ClkInitStruct.SYSCLKDivider = RCC_SYSCLK_DIV2;
  RCC_ClkInitStruct.AHBCLKDivider = RCC_HCLK_DIV1;
  RCC_ClkInitStruct.APB3CLKDivider = RCC_APB3_DIV2;
  RCC_ClkInitStruct.APB1CLKDivider = RCC_APB1_DIV2;
  RCC_ClkInitStruct.APB2CLKDivider = RCC_APB2_DIV2;
  RCC_ClkInitStruct.APB4CLKDivider = RCC_APB4_DIV2;

  if (HAL_RCC_ClockConfig(&RCC_ClkInitStruct, FLASH_LATENCY_4) != HAL_OK)
  {
    Error_Handler();
  }
  PeriphClkInitStruct.PeriphClockSelection = RCC_PERIPHCLK_USART3|RCC_PERIPHCLK_USART2
                              |RCC_PERIPHCLK_UART4|RCC_PERIPHCLK_UART7
                              |RCC_PERIPHCLK_USART1|RCC_PERIPHCLK_SPI4
                              |RCC_PERIPHCLK_SPI3|RCC_PERIPHCLK_SPI1
                              |RCC_PERIPHCLK_SPI2|RCC_PERIPHCLK_SDMMC
                              |RCC_PERIPHCLK_ADC|RCC_PERIPHCLK_USB;
  PeriphClkInitStruct.PLL2.PLL2M = 1;
  PeriphClkInitStruct.PLL2.PLL2N = 19;
  PeriphClkInitStruct.PLL2.PLL2P = 1;
  PeriphClkInitStruct.PLL2.PLL2Q = 2;
  PeriphClkInitStruct.PLL2.PLL2R = 2;
  PeriphClkInitStruct.PLL2.PLL2RGE = RCC_PLL2VCIRANGE_3;
  PeriphClkInitStruct.PLL2.PLL2VCOSEL = RCC_PLL2VCOMEDIUM;
  PeriphClkInitStruct.PLL2.PLL2FRACN = 0;
  PeriphClkInitStruct.SdmmcClockSelection = RCC_SDMMCCLKSOURCE_PLL;
  PeriphClkInitStruct.Spi123ClockSelection = RCC_SPI123CLKSOURCE_PLL;
  PeriphClkInitStruct.Spi45ClockSelection = RCC_SPI45CLKSOURCE_D2PCLK1;
  PeriphClkInitStruct.Usart234578ClockSelection = RCC_USART234578CLKSOURCE_D2PCLK1;
  PeriphClkInitStruct.Usart16ClockSelection = RCC_USART16CLKSOURCE_D2PCLK2;
  PeriphClkInitStruct.UsbClockSelection = RCC_USBCLKSOURCE_PLL;
  PeriphClkInitStruct.AdcClockSelection = RCC_ADCCLKSOURCE_PLL2;
  if (HAL_RCCEx_PeriphCLKConfig(&PeriphClkInitStruct) != HAL_OK)
  {
    Error_Handler();
  }
  /** Enable USB Voltage detector
  */
  HAL_PWREx_EnableUSBVoltageDetector();
}

static void MX_ADC1_Init(void)
{

  ADC_MultiModeTypeDef multimode = {0};
  ADC_ChannelConfTypeDef sConfig = {0};

  /** Common config
  */
  hadc1.Instance = ADC1;
  hadc1.Init.ClockPrescaler = ADC_CLOCK_ASYNC_DIV4;
  hadc1.Init.Resolution = ADC_RESOLUTION_16B;
  hadc1.Init.ScanConvMode = ADC_SCAN_ENABLE;
  hadc1.Init.EOCSelection = ADC_EOC_SINGLE_CONV;
  hadc1.Init.LowPowerAutoWait = DISABLE;
  hadc1.Init.ContinuousConvMode = ENABLE;
  hadc1.Init.NbrOfConversion = 4;
  hadc1.Init.DiscontinuousConvMode = DISABLE;
  hadc1.Init.ExternalTrigConv = ADC_SOFTWARE_START;
  hadc1.Init.ExternalTrigConvEdge = ADC_EXTERNALTRIGCONVEDGE_NONE;
  hadc1.Init.ConversionDataManagement = ADC_CONVERSIONDATA_DR;
  hadc1.Init.Overrun = ADC_OVR_DATA_PRESERVED;
  hadc1.Init.LeftBitShift = ADC_LEFTBITSHIFT_NONE;
  hadc1.Init.OversamplingMode = DISABLE;
  if (HAL_ADC_Init(&hadc1) != HAL_OK)
  {
    Error_Handler();
  }
  /** Configure the ADC multi-mode
  */
  multimode.Mode = ADC_MODE_INDEPENDENT;
  if (HAL_ADCEx_MultiModeConfigChannel(&hadc1, &multimode) != HAL_OK)
  {
    Error_Handler();
  }
  /** Configure Regular Channel
  */
  sConfig.Channel = ADC_CHANNEL_8;
  sConfig.Rank = ADC_REGULAR_RANK_1;
  sConfig.SamplingTime = ADC_SAMPLETIME_387CYCLES_5;
  sConfig.SingleDiff = ADC_SINGLE_ENDED;
  sConfig.OffsetNumber = ADC_OFFSET_NONE;
  sConfig.Offset = 0;
  sConfig.OffsetSignedSaturation = DISABLE;
  if (HAL_ADC_ConfigChannel(&hadc1, &sConfig) != HAL_OK)
  {
    Error_Handler();
  }
  /** Configure Regular Channel
  */
  sConfig.Channel = ADC_CHANNEL_9;
  sConfig.Rank = ADC_REGULAR_RANK_2;
  if (HAL_ADC_ConfigChannel(&hadc1, &sConfig) != HAL_OK)
  {
    Error_Handler();
  }
  /** Configure Regular Channel
  */
  sConfig.Channel = ADC_CHANNEL_10;
  sConfig.Rank = ADC_REGULAR_RANK_3;
  if (HAL_ADC_ConfigChannel(&hadc1, &sConfig) != HAL_OK)
  {
    Error_Handler();
  }
  /** Configure Regular Channel
  */
  sConfig.Channel = ADC_CHANNEL_11;
  sConfig.Rank = ADC_REGULAR_RANK_4;
  if (HAL_ADC_ConfigChannel(&hadc1, &sConfig) != HAL_OK)
  {
    Error_Handler();
  }

}

static void MX_SDMMC1_SD_Init(void)
{

  hsd1.Instance = SDMMC1;
  hsd1.Init.ClockEdge = SDMMC_CLOCK_EDGE_RISING;
  hsd1.Init.ClockPowerSave = SDMMC_CLOCK_POWER_SAVE_DISABLE;
  hsd1.Init.BusWide = SDMMC_BUS_WIDE_4B;
  hsd1.Init.HardwareFlowControl = SDMMC_HARDWARE_FLOW_CONTROL_DISABLE;
  hsd1.Init.ClockDiv = 0;
  hsd1.Init.TranceiverPresent = SDMMC_TRANSCEIVER_NOT_PRESENT;

}

static void MX_SPI1_Init(void)
{

  /* SPI1 parameter configuration*/
  hspi1.Instance = SPI1;
  hspi1.Init.Mode = SPI_MODE_SLAVE;
  hspi1.Init.Direction = SPI_DIRECTION_2LINES_RXONLY;
  hspi1.Init.DataSize = SPI_DATASIZE_8BIT;
  hspi1.Init.CLKPolarity = SPI_POLARITY_LOW;
  hspi1.Init.CLKPhase = SPI_PHASE_1EDGE;
  hspi1.Init.NSS = SPI_NSS_SOFT;
  hspi1.Init.FirstBit = SPI_FIRSTBIT_MSB;
  hspi1.Init.TIMode = SPI_TIMODE_DISABLE;
  hspi1.Init.CRCCalculation = SPI_CRCCALCULATION_DISABLE;
  hspi1.Init.CRCPolynomial = 0x0;
  hspi1.Init.NSSPMode = SPI_NSS_PULSE_DISABLE;
  hspi1.Init.NSSPolarity = SPI_NSS_POLARITY_LOW;
  hspi1.Init.FifoThreshold = SPI_FIFO_THRESHOLD_01DATA;
  hspi1.Init.TxCRCInitializationPattern = SPI_CRC_INITIALIZATION_ALL_ZERO_PATTERN;
  hspi1.Init.RxCRCInitializationPattern = SPI_CRC_INITIALIZATION_ALL_ZERO_PATTERN;
  hspi1.Init.MasterSSIdleness = SPI_MASTER_SS_IDLENESS_00CYCLE;
  hspi1.Init.MasterInterDataIdleness = SPI_MASTER_INTERDATA_IDLENESS_00CYCLE;
  hspi1.Init.MasterReceiverAutoSusp = SPI_MASTER_RX_AUTOSUSP_DISABLE;
  hspi1.Init.MasterKeepIOState = SPI_MASTER_KEEP_IO_STATE_DISABLE;
  hspi1.Init.IOSwap = SPI_IO_SWAP_DISABLE;
  if (HAL_SPI_Init(&hspi1) != HAL_OK)
  {
    Error_Handler();
  }

}

static void MX_SPI2_Init(void)
{

  /* SPI2 parameter configuration*/
  hspi2.Instance = SPI2;
  hspi2.Init.Mode = SPI_MODE_SLAVE;
  hspi2.Init.Direction = SPI_DIRECTION_2LINES_RXONLY;
  hspi2.Init.DataSize = SPI_DATASIZE_8BIT;
  hspi2.Init.CLKPolarity = SPI_POLARITY_LOW;
  hspi2.Init.CLKPhase = SPI_PHASE_1EDGE;
  hspi2.Init.NSS = SPI_NSS_SOFT;
  hspi2.Init.FirstBit = SPI_FIRSTBIT_MSB;
  hspi2.Init.TIMode = SPI_TIMODE_DISABLE;
  hspi2.Init.CRCCalculation = SPI_CRCCALCULATION_DISABLE;
  hspi2.Init.CRCPolynomial = 0x0;
  hspi2.Init.NSSPMode = SPI_NSS_PULSE_DISABLE;
  hspi2.Init.NSSPolarity = SPI_NSS_POLARITY_LOW;
  hspi2.Init.FifoThreshold = SPI_FIFO_THRESHOLD_01DATA;
  hspi2.Init.TxCRCInitializationPattern = SPI_CRC_INITIALIZATION_ALL_ZERO_PATTERN;
  hspi2.Init.RxCRCInitializationPattern = SPI_CRC_INITIALIZATION_ALL_ZERO_PATTERN;
  hspi2.Init.MasterSSIdleness = SPI_MASTER_SS_IDLENESS_00CYCLE;
  hspi2.Init.MasterInterDataIdleness = SPI_MASTER_INTERDATA_IDLENESS_00CYCLE;
  hspi2.Init.MasterReceiverAutoSusp = SPI_MASTER_RX_AUTOSUSP_DISABLE;
  hspi2.Init.MasterKeepIOState = SPI_MASTER_KEEP_IO_STATE_DISABLE;
  hspi2.Init.IOSwap = SPI_IO_SWAP_DISABLE;
  if (HAL_SPI_Init(&hspi2) != HAL_OK)
  {
    Error_Handler();
  }

}

static void MX_SPI3_Init(void)
{

  /* SPI3 parameter configuration*/
  hspi3.Instance = SPI3;
  hspi3.Init.Mode = SPI_MODE_SLAVE;
  hspi3.Init.Direction = SPI_DIRECTION_2LINES_RXONLY;
  hspi3.Init.DataSize = SPI_DATASIZE_8BIT;
  hspi3.Init.CLKPolarity = SPI_POLARITY_LOW;
  hspi3.Init.CLKPhase = SPI_PHASE_1EDGE;
  hspi3.Init.NSS = SPI_NSS_SOFT;
  hspi3.Init.FirstBit = SPI_FIRSTBIT_MSB;
  hspi3.Init.TIMode = SPI_TIMODE_DISABLE;
  hspi3.Init.CRCCalculation = SPI_CRCCALCULATION_DISABLE;
  hspi3.Init.CRCPolynomial = 0x0;
  hspi3.Init.NSSPMode = SPI_NSS_PULSE_DISABLE;
  hspi3.Init.NSSPolarity = SPI_NSS_POLARITY_LOW;
  hspi3.Init.FifoThreshold = SPI_FIFO_THRESHOLD_01DATA;
  hspi3.Init.TxCRCInitializationPattern = SPI_CRC_INITIALIZATION_ALL_ZERO_PATTERN;
  hspi3.Init.RxCRCInitializationPattern = SPI_CRC_INITIALIZATION_ALL_ZERO_PATTERN;
  hspi3.Init.MasterSSIdleness = SPI_MASTER_SS_IDLENESS_00CYCLE;
  hspi3.Init.MasterInterDataIdleness = SPI_MASTER_INTERDATA_IDLENESS_00CYCLE;
  hspi3.Init.MasterReceiverAutoSusp = SPI_MASTER_RX_AUTOSUSP_DISABLE;
  hspi3.Init.MasterKeepIOState = SPI_MASTER_KEEP_IO_STATE_DISABLE;
  hspi3.Init.IOSwap = SPI_IO_SWAP_DISABLE;
  if (HAL_SPI_Init(&hspi3) != HAL_OK)
  {
    Error_Handler();
  }

}

static void MX_SPI4_Init(void)
{

  /* SPI4 parameter configuration*/
  hspi4.Instance = SPI4;
  hspi4.Init.Mode = SPI_MODE_MASTER;
  hspi4.Init.Direction = SPI_DIRECTION_2LINES;
  hspi4.Init.DataSize = SPI_DATASIZE_8BIT;
  hspi4.Init.CLKPolarity = SPI_POLARITY_LOW;
  hspi4.Init.CLKPhase = SPI_PHASE_1EDGE;
  hspi4.Init.NSS = SPI_NSS_SOFT;
  hspi4.Init.BaudRatePrescaler = SPI_BAUDRATEPRESCALER_64;
  hspi4.Init.FirstBit = SPI_FIRSTBIT_MSB;
  hspi4.Init.TIMode = SPI_TIMODE_DISABLE;
  hspi4.Init.CRCCalculation = SPI_CRCCALCULATION_DISABLE;
  hspi4.Init.CRCPolynomial = 0x0;
  hspi4.Init.NSSPMode = SPI_NSS_PULSE_ENABLE;
  hspi4.Init.NSSPolarity = SPI_NSS_POLARITY_LOW;
  hspi4.Init.FifoThreshold = SPI_FIFO_THRESHOLD_01DATA;
  hspi4.Init.TxCRCInitializationPattern = SPI_CRC_INITIALIZATION_ALL_ZERO_PATTERN;
  hspi4.Init.RxCRCInitializationPattern = SPI_CRC_INITIALIZATION_ALL_ZERO_PATTERN;
  hspi4.Init.MasterSSIdleness = SPI_MASTER_SS_IDLENESS_00CYCLE;
  hspi4.Init.MasterInterDataIdleness = SPI_MASTER_INTERDATA_IDLENESS_00CYCLE;
  hspi4.Init.MasterReceiverAutoSusp = SPI_MASTER_RX_AUTOSUSP_DISABLE;
  hspi4.Init.MasterKeepIOState = SPI_MASTER_KEEP_IO_STATE_DISABLE;
  hspi4.Init.IOSwap = SPI_IO_SWAP_DISABLE;
  if (HAL_SPI_Init(&hspi4) != HAL_OK)
  {
    Error_Handler();
  }

}

static void MX_UART4_Init(void)
{

  huart4.Instance = UART4;
  huart4.Init.BaudRate = 115200;
  huart4.Init.WordLength = UART_WORDLENGTH_8B;
  huart4.Init.StopBits = UART_STOPBITS_1;
  huart4.Init.Parity = UART_PARITY_NONE;
  huart4.Init.Mode = UART_MODE_TX_RX;
  huart4.Init.HwFlowCtl = UART_HWCONTROL_NONE;
  huart4.Init.OverSampling = UART_OVERSAMPLING_16;
  huart4.Init.OneBitSampling = UART_ONE_BIT_SAMPLE_DISABLE;
  huart4.Init.ClockPrescaler = UART_PRESCALER_DIV1;
  huart4.AdvancedInit.AdvFeatureInit = UART_ADVFEATURE_NO_INIT;
  if (HAL_UART_Init(&huart4) != HAL_OK)
  {
    Error_Handler();
  }
  if (HAL_UARTEx_SetTxFifoThreshold(&huart4, UART_TXFIFO_THRESHOLD_1_8) != HAL_OK)
  {
    Error_Handler();
  }
  if (HAL_UARTEx_SetRxFifoThreshold(&huart4, UART_RXFIFO_THRESHOLD_1_8) != HAL_OK)
  {
    Error_Handler();
  }
  if (HAL_UARTEx_DisableFifoMode(&huart4) != HAL_OK)
  {
    Error_Handler();
  }

}

static void MX_UART7_Init(void)
{

  huart7.Instance = UART7;
  huart7.Init.BaudRate = 115200;
  huart7.Init.WordLength = UART_WORDLENGTH_8B;
  huart7.Init.StopBits = UART_STOPBITS_1;
  huart7.Init.Parity = UART_PARITY_NONE;
  huart7.Init.Mode = UART_MODE_TX_RX;
  huart7.Init.HwFlowCtl = UART_HWCONTROL_NONE;
  huart7.Init.OverSampling = UART_OVERSAMPLING_16;
  huart7.Init.OneBitSampling = UART_ONE_BIT_SAMPLE_DISABLE;
  huart7.Init.ClockPrescaler = UART_PRESCALER_DIV1;
  huart7.AdvancedInit.AdvFeatureInit = UART_ADVFEATURE_NO_INIT;
  if (HAL_UART_Init(&huart7) != HAL_OK)
  {
    Error_Handler();
  }
  if (HAL_UARTEx_SetTxFifoThreshold(&huart7, UART_TXFIFO_THRESHOLD_1_8) != HAL_OK)
  {
    Error_Handler();
  }
  if (HAL_UARTEx_SetRxFifoThreshold(&huart7, UART_RXFIFO_THRESHOLD_1_8) != HAL_OK)
  {
    Error_Handler();
  }
  if (HAL_UARTEx_DisableFifoMode(&huart7) != HAL_OK)
  {
    Error_Handler();
  }

}

static void MX_USART1_UART_Init(void)
{

  huart1.Instance = USART1;
  huart1.Init.BaudRate = 115200;
  huart1.Init.WordLength = UART_WORDLENGTH_8B;
  huart1.Init.StopBits = UART_STOPBITS_1;
  huart1.Init.Parity = UART_PARITY_NONE;
  huart1.Init.Mode = UART_MODE_TX_RX;
  huart1.Init.HwFlowCtl = UART_HWCONTROL_NONE;
  huart1.Init.OverSampling = UART_OVERSAMPLING_16;
  huart1.Init.OneBitSampling = UART_ONE_BIT_SAMPLE_DISABLE;
  huart1.Init.ClockPrescaler = UART_PRESCALER_DIV1;
  huart1.AdvancedInit.AdvFeatureInit = UART_ADVFEATURE_NO_INIT;
  if (HAL_UART_Init(&huart1) != HAL_OK)
  {
    Error_Handler();
  }
  if (HAL_UARTEx_SetTxFifoThreshold(&huart1, UART_TXFIFO_THRESHOLD_1_8) != HAL_OK)
  {
    Error_Handler();
  }
  if (HAL_UARTEx_SetRxFifoThreshold(&huart1, UART_RXFIFO_THRESHOLD_1_8) != HAL_OK)
  {
    Error_Handler();
  }
  if (HAL_UARTEx_DisableFifoMode(&huart1) != HAL_OK)
  {
    Error_Handler();
  }

}

static void MX_USART2_UART_Init(void)
{

  huart2.Instance = USART2;
  huart2.Init.BaudRate = 115200;
  huart2.Init.WordLength = UART_WORDLENGTH_8B;
  huart2.Init.StopBits = UART_STOPBITS_1;
  huart2.Init.Parity = UART_PARITY_NONE;
  huart2.Init.Mode = UART_MODE_TX_RX;
  huart2.Init.HwFlowCtl = UART_HWCONTROL_NONE;
  huart2.Init.OverSampling = UART_OVERSAMPLING_16;
  huart2.Init.OneBitSampling = UART_ONE_BIT_SAMPLE_DISABLE;
  huart2.Init.ClockPrescaler = UART_PRESCALER_DIV1;
  huart2.AdvancedInit.AdvFeatureInit = UART_ADVFEATURE_NO_INIT;
  if (HAL_UART_Init(&huart2) != HAL_OK)
  {
    Error_Handler();
  }
  if (HAL_UARTEx_SetTxFifoThreshold(&huart2, UART_TXFIFO_THRESHOLD_1_8) != HAL_OK)
  {
    Error_Handler();
  }
  if (HAL_UARTEx_SetRxFifoThreshold(&huart2, UART_RXFIFO_THRESHOLD_1_8) != HAL_OK)
  {
    Error_Handler();
  }
  if (HAL_UARTEx_DisableFifoMode(&huart2) != HAL_OK)
  {
    Error_Handler();
  }

}

static void MX_USART3_UART_Init(void)
{

  huart3.Instance = USART3;
  huart3.Init.BaudRate = 115200;
  huart3.Init.WordLength = UART_WORDLENGTH_8B;
  huart3.Init.StopBits = UART_STOPBITS_1;
  huart3.Init.Parity = UART_PARITY_NONE;
  huart3.Init.Mode = UART_MODE_TX_RX;
  huart3.Init.HwFlowCtl = UART_HWCONTROL_NONE;
  huart3.Init.OverSampling = UART_OVERSAMPLING_16;
  huart3.Init.OneBitSampling = UART_ONE_BIT_SAMPLE_DISABLE;
  huart3.Init.ClockPrescaler = UART_PRESCALER_DIV1;
  huart3.AdvancedInit.AdvFeatureInit = UART_ADVFEATURE_NO_INIT;
  if (HAL_UART_Init(&huart3) != HAL_OK)
  {
    Error_Handler();
  }
  if (HAL_UARTEx_SetTxFifoThreshold(&huart3, UART_TXFIFO_THRESHOLD_1_8) != HAL_OK)
  {
    Error_Handler();
  }
  if (HAL_UARTEx_SetRxFifoThreshold(&huart3, UART_RXFIFO_THRESHOLD_1_8) != HAL_OK)
  {
    Error_Handler();
  }
  if (HAL_UARTEx_DisableFifoMode(&huart3) != HAL_OK)
  {
    Error_Handler();
  }

}

static void MX_DMA_Init(void)
{

  /* DMA controller clock enable */
  __HAL_RCC_DMA2_CLK_ENABLE();
  __HAL_RCC_DMA1_CLK_ENABLE();

  /* DMA interrupt init */
  /* DMA1_Stream0_IRQn interrupt configuration */
  HAL_NVIC_SetPriority(DMA1_Stream0_IRQn, 5, 0);
  HAL_NVIC_EnableIRQ(DMA1_Stream0_IRQn);
  /* DMA1_Stream1_IRQn interrupt configuration */
  HAL_NVIC_SetPriority(DMA1_Stream1_IRQn, 5, 0);
  HAL_NVIC_EnableIRQ(DMA1_Stream1_IRQn);
  /* DMA1_Stream2_IRQn interrupt configuration */
  HAL_NVIC_SetPriority(DMA1_Stream2_IRQn, 5, 0);
  HAL_NVIC_EnableIRQ(DMA1_Stream2_IRQn);
  /* DMA1_Stream3_IRQn interrupt configuration */
  HAL_NVIC_SetPriority(DMA1_Stream3_IRQn, 5, 0);
  HAL_NVIC_EnableIRQ(DMA1_Stream3_IRQn);
  /* DMA1_Stream4_IRQn interrupt configuration */
  HAL_NVIC_SetPriority(DMA1_Stream4_IRQn, 5, 0);
  HAL_NVIC_EnableIRQ(DMA1_Stream4_IRQn);
  /* DMA1_Stream5_IRQn interrupt configuration */
  HAL_NVIC_SetPriority(DMA1_Stream5_IRQn, 5, 0);
  HAL_NVIC_EnableIRQ(DMA1_Stream5_IRQn);
  /* DMA1_Stream6_IRQn interrupt configuration */
  HAL_NVIC_SetPriority(DMA1_Stream6_IRQn, 5, 0);
  HAL_NVIC_EnableIRQ(DMA1_Stream6_IRQn);
  /* DMA1_Stream7_IRQn interrupt configuration */
  HAL_NVIC_SetPriority(DMA1_Stream7_IRQn, 0, 0);
  HAL_NVIC_EnableIRQ(DMA1_Stream7_IRQn);
  /* DMA2_Stream4_IRQn interrupt configuration */
  HAL_NVIC_SetPriority(DMA2_Stream4_IRQn, 5, 0);
  HAL_NVIC_EnableIRQ(DMA2_Stream4_IRQn);

}

static void MX_GPIO_Init(void)
{
  GPIO_InitTypeDef GPIO_InitStruct = {0};

  /* GPIO Ports Clock Enable */
  __HAL_RCC_GPIOE_CLK_ENABLE();
  __HAL_RCC_GPIOC_CLK_ENABLE();
  __HAL_RCC_GPIOH_CLK_ENABLE();
  __HAL_RCC_GPIOA_CLK_ENABLE();
  __HAL_RCC_GPIOB_CLK_ENABLE();
  __HAL_RCC_GPIOD_CLK_ENABLE();

  /*Configure GPIO pin Output Level */
  HAL_GPIO_WritePin(GPIOE, SPI4_CS_Pin|CAMERA1_Pin|CAMERA2_Pin, GPIO_PIN_RESET);

  /*Configure GPIO pin Output Level */
  HAL_GPIO_WritePin(PW_HOLD_GPIO_Port, PW_HOLD_Pin, GPIO_PIN_RESET);

  /*Configure GPIO pin Output Level */
  HAL_GPIO_WritePin(GPIOD, LED3_Pin|LED4_Pin|BUZZER_Pin|LED1_Pin
                          |LED2_Pin, GPIO_PIN_RESET);

  /*Configure GPIO pins : SPI4_CS_Pin CAMERA1_Pin CAMERA2_Pin */
  GPIO_InitStruct.Pin = SPI4_CS_Pin|CAMERA1_Pin|CAMERA2_Pin;
  GPIO_InitStruct.Mode = GPIO_MODE_OUTPUT_PP;
  GPIO_InitStruct.Pull = GPIO_NOPULL;
  GPIO_InitStruct.Speed = GPIO_SPEED_FREQ_LOW;
  HAL_GPIO_Init(GPIOE, &GPIO_InitStruct);

  /*Configure GPIO pin : SD_DET_Pin */
  GPIO_InitStruct.Pin = SD_DET_Pin;
  GPIO_InitStruct.Mode = GPIO_MODE_INPUT;
  GPIO_InitStruct.Pull = GPIO_NOPULL;
  HAL_GPIO_Init(SD_DET_GPIO_Port, &GPIO_InitStruct);

  /*Configure GPIO pin : PW_HOLD_Pin */
  GPIO_InitStruct.Pin = PW_HOLD_Pin;
  GPIO_InitStruct.Mode = GPIO_MODE_OUTPUT_PP;
  GPIO_InitStruct.Pull = GPIO_NOPULL;
  GPIO_InitStruct.Speed = GPIO_SPEED_FREQ_LOW;
  HAL_GPIO_Init(PW_HOLD_GPIO_Port, &GPIO_InitStruct);

  /*Configure GPIO pins : LED3_Pin LED4_Pin BUZZER_Pin LED1_Pin
                           LED2_Pin */
  GPIO_InitStruct.Pin = LED3_Pin|LED4_Pin|BUZZER_Pin|LED1_Pin
                          |LED2_Pin;
  GPIO_InitStruct.Mode = GPIO_MODE_OUTPUT_PP;
  GPIO_InitStruct.Pull = GPIO_NOPULL;
  GPIO_InitStruct.Speed = GPIO_SPEED_FREQ_LOW;
  HAL_GPIO_Init(GPIOD, &GPIO_InitStruct);

}

void StartDefaultTask(void *argument)
{
  /* init code for USB_DEVICE */
  MX_USB_DEVICE_Init();
  /* USER CODE BEGIN 5 */
	/* Infinite loop */
	osDelay(5000);
#if ( configUSE_TRACE_FACILITY == 1 )
	vTraceEnable(TRC_START);
#endif

	for (;;) {
		osDelay(1000);
	}
  /* USER CODE END 5 */
}

void HAL_TIM_PeriodElapsedCallback(TIM_HandleTypeDef *htim)
{
  if (htim->Instance == TIM1) {
    HAL_IncTick();
  }
}

void Error_Handler(void)
{
}

/************************ (C) COPYRIGHT STMicroelectronics *****END OF FILE****/
